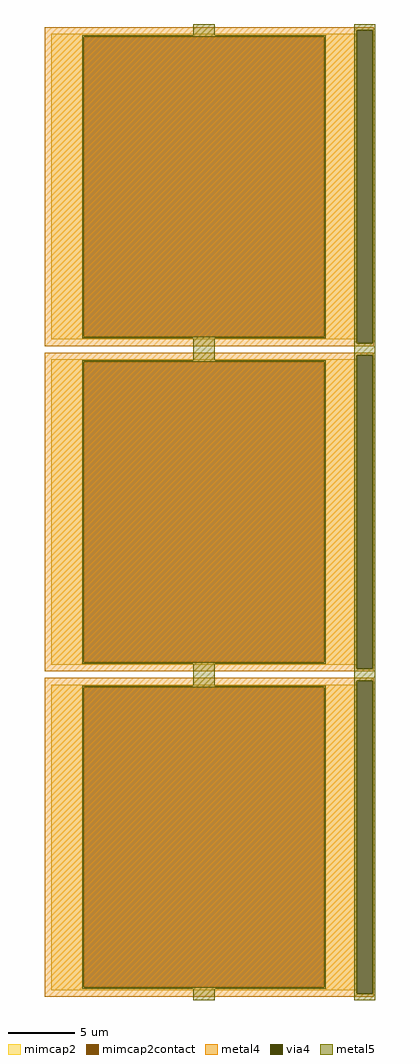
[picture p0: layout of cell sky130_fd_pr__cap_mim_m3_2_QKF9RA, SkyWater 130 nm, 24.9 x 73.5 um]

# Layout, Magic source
magic
tech sky130A
magscale 1 2
<< metal4 >>
rect -2479 7259 2479 7300
rect -2479 2541 2223 7259
rect 2459 2541 2479 7259
rect -2479 2500 2479 2541
rect -2479 2359 2479 2400
rect -2479 -2359 2223 2359
rect 2459 -2359 2479 2359
rect -2479 -2400 2479 -2359
rect -2479 -2541 2479 -2500
rect -2479 -7259 2223 -2541
rect 2459 -7259 2479 -2541
rect -2479 -7300 2479 -7259
<< via4 >>
rect 2223 2541 2459 7259
rect 2223 -2359 2459 2359
rect 2223 -7259 2459 -2541
<< mimcap2 >>
rect -2379 7160 2221 7200
rect -2379 2640 -1887 7160
rect 1729 2640 2221 7160
rect -2379 2600 2221 2640
rect -2379 2260 2221 2300
rect -2379 -2260 -1887 2260
rect 1729 -2260 2221 2260
rect -2379 -2300 2221 -2260
rect -2379 -2640 2221 -2600
rect -2379 -7160 -1887 -2640
rect 1729 -7160 2221 -2640
rect -2379 -7200 2221 -7160
<< mimcap2contact >>
rect -1887 2640 1729 7160
rect -1887 -2260 1729 2260
rect -1887 -7160 1729 -2640
<< metal5 >>
rect -239 7184 81 7350
rect 2181 7259 2501 7350
rect -1911 7160 1753 7184
rect -1911 2640 -1887 7160
rect 1729 2640 1753 7160
rect -1911 2616 1753 2640
rect -239 2284 81 2616
rect 2181 2541 2223 7259
rect 2459 2541 2501 7259
rect 2181 2359 2501 2541
rect -1911 2260 1753 2284
rect -1911 -2260 -1887 2260
rect 1729 -2260 1753 2260
rect -1911 -2284 1753 -2260
rect -239 -2616 81 -2284
rect 2181 -2359 2223 2359
rect 2459 -2359 2501 2359
rect 2181 -2541 2501 -2359
rect -1911 -2640 1753 -2616
rect -1911 -7160 -1887 -2640
rect 1729 -7160 1753 -2640
rect -1911 -7184 1753 -7160
rect -239 -7350 81 -7184
rect 2181 -7259 2223 -2541
rect 2459 -7259 2501 -2541
rect 2181 -7350 2501 -7259
<< properties >>
string FIXED_BBOX -2479 2500 2321 7300
string gencell sky130_fd_pr__cap_mim_m3_2
string library sky130
string parameters w 23 l 23 val 1.075k carea 2.00 cperi 0.19 nx 1 ny 3 dummy 0 square 0 lmin 2.00 wmin 2.00 lmax 30.0 wmax 30.0 dc 0 bconnect 1 tconnect 1 ccov 80
<< end >>
